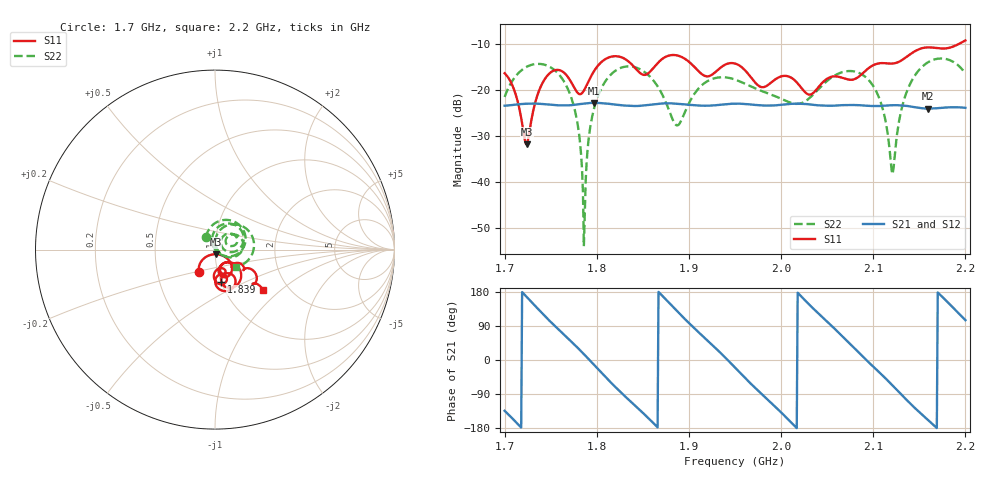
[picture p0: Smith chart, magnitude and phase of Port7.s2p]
# Hz S RI R 50
! CMT, CMT808U, 21440046, 21.4.3/4
! Date: 12/13/2025 10:49:33 PM
! Data: Format (Calibration Info)
! Freq	S11:Re/Im(F2)	S41:Re/Im(F2)	S14:Re/Im(F2)	S44:Re/Im(F2)
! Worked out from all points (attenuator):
!   501 points, 1.7 GHz to 2.2 GHz, reference 50 ohm
!   highest |S21| = -22.76 dB at 1.797 GHz (marker M1); lowest = -24.0 dB at 2.159 GHz (marker M2)
!   lowest |S11| = -31.7 dB at 1.724 GHz (marker M3), VSWR 1.05, Z = 50.2 - j2.58 ohm
!   |S11| at or under -10 dB: start of sweep to 2.193 GHz
!   |S22| runs from -53.9 to -13.1 dB; largest |S21 - S12| = 0.00036
!   S11 on the Smith chart (normalised r, x): 1.7 GHz: 0.81, -0.21; 1.839 GHz: 1.00, -0.38; 2.2 GHz: 1.49, -0.76
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1.7e9  -0.0879 -0.1247  -0.0471 -0.0487  -0.0469 -0.0487  -0.0487 0.0688
1.724e9  0.00284 -0.0257  -0.0692 0.0168  -0.0691 0.0166  0.0694 0.1654
1.743e9  0.0929 -0.0895  -0.0328 0.0625  -0.0329 0.0622  0.1649 0.0928
1.768e9  0.0265 -0.1393  0.0356 0.0582  0.0355 0.0582  0.1005 -0.0348
1.779e9  0.033 -0.088  0.0588 0.038  0.0587 0.038  0.0341 -0.028
1.784e9  0.0574 -0.0729  0.0666 0.025  0.0664 0.0251  0.00968 -0.00998
1.787e9  0.0752 -0.0702  0.0698 0.0161  0.0697 0.0163  -0.00153 0.00423
1.791e9  0.0993 -0.0746  0.0722 0.00354  0.0721 0.00364  -0.0119 0.0258
1.797e9  0.1289 -0.0959  0.0709 -0.0161  0.0708 -0.0159  -0.0163 0.0608
1.839e9  0.0362 -0.182  -0.0281 -0.061  -0.028 -0.0611  0.1532 0.0936
1.867e9  0.1133 -0.1662  -0.0711 0.000251  -0.071 5.99e-05  0.1054 -0.0124
1.887e9  0.0573 -0.2314  -0.045 0.0552  -0.0451 0.055  0.0377 0.017
1.916e9  0.0178 -0.1435  0.0331 0.0591  0.0329 0.059  0.0756 0.0899
1.95e9  0.0281 -0.1924  0.0671 -0.0245  0.0669 -0.0242  0.1235 0.042
2.034e9  0.0571 -0.0717  -0.0516 0.0465  -0.0516 0.0464  0.0625 0.0617
2.088e9  0.1307 -0.0742  0.0671 0.0124  0.067 0.0126  0.147 -0.0113
2.107e9  0.1616 -0.1106  0.0561 -0.0372  0.0562 -0.0369  0.0677 -0.0415
2.117e9  0.1579 -0.1136  0.0369 -0.0574  0.037 -0.0573  0.0227 -0.0133
2.121e9  0.1605 -0.1098  0.0266 -0.0632  0.0269 -0.063  0.0108 0.00586
2.135e9  0.1981 -0.1073  -0.0143 -0.0661  -0.0141 -0.066  0.0132 0.087
2.159e9  0.2257 -0.1839  -0.0582 -0.0242  -0.0581 -0.0244  0.1495 0.1318
2.2e9  0.2653 -0.2226  -0.0167 0.062  -0.0169 0.0619  0.1172 -0.096
